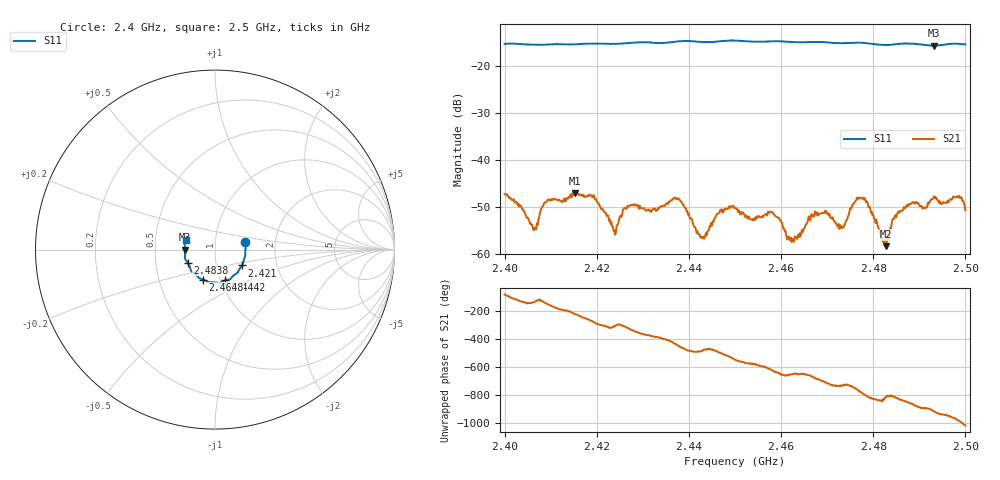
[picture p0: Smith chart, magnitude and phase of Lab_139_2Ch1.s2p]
# Hz S RI R 50
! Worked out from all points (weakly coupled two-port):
!   601 points, 2.4 GHz to 2.5 GHz, reference 50 ohm
!   highest |S21| = -47.03 dB at 2.4153 GHz (marker M1); lowest = -58.4 dB at 2.4828 GHz (marker M2)
!   lowest |S11| = -15.6 dB at 2.4932 GHz (marker M3), VSWR 1.40, Z = 35.8 - j0.0799 ohm
!   |S11| at or under -10 dB: start of sweep to end of sweep
!   S12 and S22 are empty: the file has one direction only
!   S11 on the Smith chart (normalised r, x): 2.4 GHz: 1.40, +0.12; 2.421 GHz: 1.33, -0.24; 2.4442 GHz: 1.05, -0.37; 2.4648 GHz: 0.83, -0.29; 2.4838 GHz: 0.73, -0.11; 2.5 GHz: 0.72, +0.08
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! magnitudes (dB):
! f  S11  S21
! 2.4 GHz  -15.2  -47.3
! 2.4063 GHz  -15.4  -55.0
! 2.4092 GHz  -15.4  -48.8
! 2.4153 GHz  -15.3  -47.0
! 2.4167 GHz  -15.3  -47.5
! 2.421 GHz  -15.2  -50.5
! 2.4238 GHz  -15.2  -55.0
! 2.4272 GHz  -15.0  -49.8
! 2.4333 GHz  -15.0  -50.2
! 2.4377 GHz  -14.7  -48.2
! 2.4442 GHz  -14.9  -55.1
! 2.45 GHz  -14.5  -50.3
! 2.4618 GHz  -14.8  -56.8
! 2.4648 GHz  -14.9  -54.7
! 2.4667 GHz  -14.8  -51.6
! 2.4732 GHz  -15.1  -54.6
! 2.4777 GHz  -15.0  -48.2
! 2.4828 GHz  -15.5  -58.4
! 2.4833 GHz  -15.5  -56.3
! 2.4838 GHz  -15.4  -54.7
! 2.4932 GHz  -15.6  -47.8
! 2.5 GHz  -15.4  -50.7
